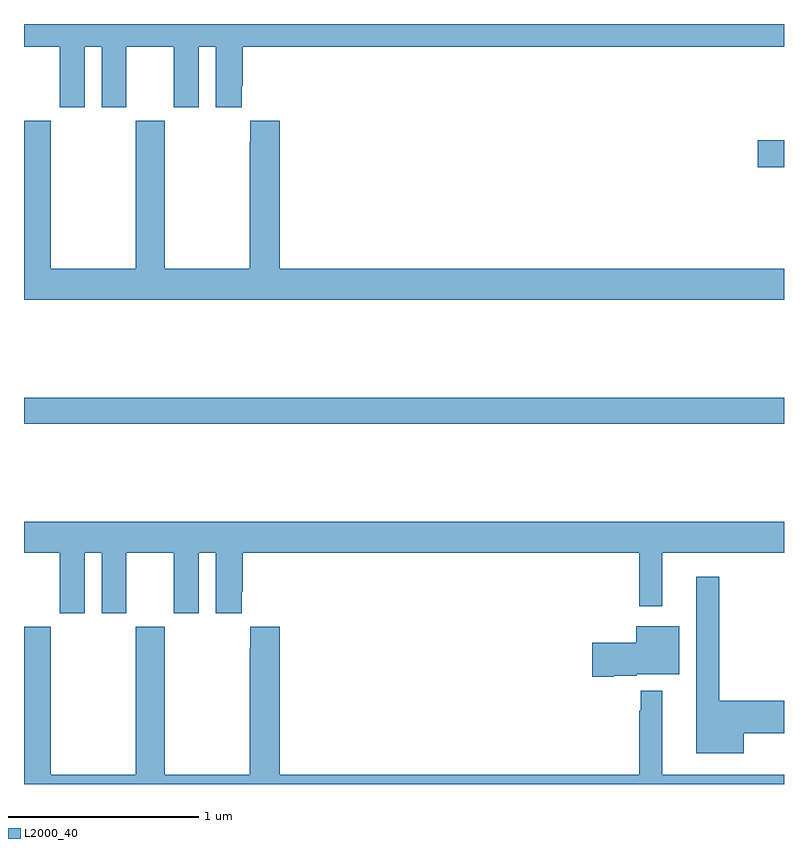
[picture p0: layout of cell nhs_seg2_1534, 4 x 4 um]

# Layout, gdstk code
import gdstk
lib = gdstk.Library(unit=1e-6, precision=1e-09)
def R(c, l, rs):  # rectangles x0, y0, x1, y1
    for r in rs: c.add(gdstk.rectangle(r[:2], r[2:], *l))
def P(c, l, *ps):  # polygons
    for p in ps: c.add(gdstk.Polygon(p, *l))
L2000_40 = (2000, 40)

nhs_seg2_1534 = lib.new_cell('nhs_seg2_1534')
R(nhs_seg2_1534, L2000_40, [(191,601.696,195,601.832), (194.862,603.047,195,603.189)])
P(nhs_seg2_1534, L2000_40, [(191.32,603.68),(191.408,603.68),(191.408,603.363),(191.539,603.363),(191.539,603.68),(191.789,603.68),(191.789,603.363),(191.92,603.363),(191.92,603.68),(192.008,603.68),(192.008,603.363),(192.145,603.363),(192.145,603.475),(192.152,603.475),(192.152,603.68),(195,603.68),(195,603.8),(191,603.8),(191,603.68),(191.189,603.68),(191.189,603.363),(191.32,603.363)],
  [(195,602.512),(192.347,602.512),(192.347,603.292),(192.191,603.292),(192.191,603.179),(192.187,603.179),(192.187,602.512),(191.742,602.512),(191.742,603.292),(191.587,603.292),(191.587,602.512),(191.142,602.512),(191.142,603.292),(191,603.292),(191,602.348),(195,602.348)],
  [(191.32,601.016),(191.408,601.016),(191.408,600.699),(191.539,600.699),(191.539,601.016),(191.789,601.016),(191.789,600.699),(191.92,600.699),(191.92,601.016),(192.008,601.016),(192.008,600.699),(192.145,600.699),(192.145,600.811),(192.152,600.811),(192.152,601.016),(194.238,601.016),(194.238,600.735),(194.359,600.735),(194.359,601.016),(195,601.016),(195,601.18),(191,601.18),(191,601.016),(191.189,601.016),(191.189,600.699),(191.32,600.699)],
  [(194.788,600.068),(195,600.068),(195,600.239),(194.659,600.239),(194.659,600.892),(194.537,600.892),(194.537,599.963),(194.788,599.963)],
  [(194.104,600.371),(194.226,600.371),(194.226,600.377),(194.449,600.377),(194.449,600.631),(194.222,600.631),(194.222,600.543),(193.992,600.543),(193.992,600.365),(194.104,600.365)],
  [(195,599.848),(194.359,599.848),(194.359,600.292),(194.245,600.292),(194.245,600.185),(194.238,600.185),(194.238,599.848),(192.347,599.848),(192.347,600.628),(192.191,600.628),(192.191,600.515),(192.187,600.515),(192.187,599.848),(191.742,599.848),(191.742,600.628),(191.587,600.628),(191.587,599.848),(191.142,599.848),(191.142,600.628),(191,600.628),(191,599.8),(195,599.8)])

lib.write_gds('nhs_seg2_1534.gds')
